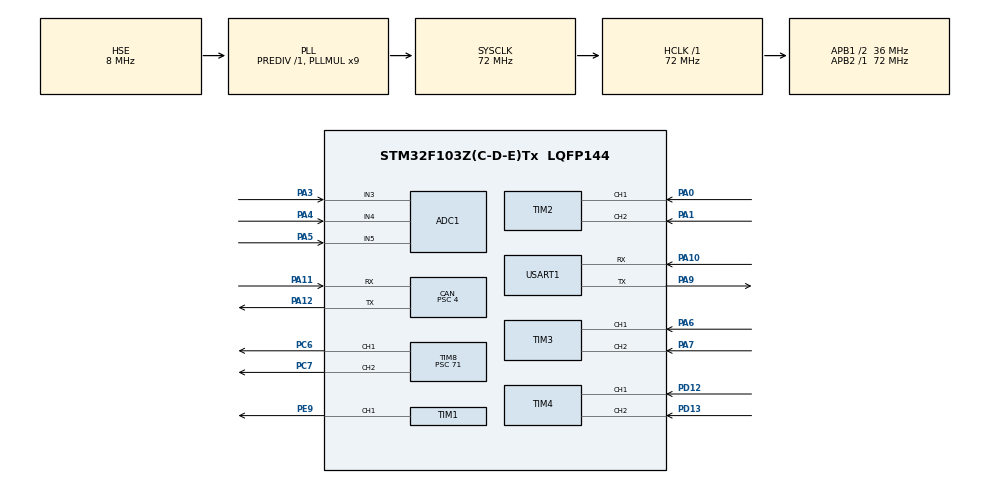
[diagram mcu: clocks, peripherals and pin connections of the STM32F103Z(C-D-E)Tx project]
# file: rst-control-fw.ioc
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ADC1.Channel-1\#ChannelRegularConversion=ADC_CHANNEL_4
ADC1.Channel-2\#ChannelRegularConversion=ADC_CHANNEL_3
ADC1.Channel-3\#ChannelRegularConversion=ADC_CHANNEL_3
ADC1.NbrOfConversion=3
ADC1.NbrOfConversionFlag=1
ADC1.Rank-1\#ChannelRegularConversion=1
ADC1.Rank-2\#ChannelRegularConversion=2
ADC1.Rank-3\#ChannelRegularConversion=3
ADC1.SamplingTime-1\#ChannelRegularConversion=ADC_SAMPLETIME_1CYCLE_5
ADC1.SamplingTime-2\#ChannelRegularConversion=ADC_SAMPLETIME_1CYCLE_5
ADC1.SamplingTime-3\#ChannelRegularConversion=ADC_SAMPLETIME_1CYCLE_5
ADC1.master=1
CAN.BS1=CAN_BS1_13TQ
CAN.BS2=CAN_BS2_2TQ
CAN.CalculateBaudRate=562500
CAN.CalculateTimeBit=1777
CAN.CalculateTimeQuantum=111.11111111111111
CAN.Prescaler=4
Dma.ADC1.0.Direction=DMA_PERIPH_TO_MEMORY
Dma.ADC1.0.Instance=DMA1_Channel1
Dma.ADC1.0.MemDataAlignment=DMA_MDATAALIGN_HALFWORD
Dma.ADC1.0.MemInc=DMA_MINC_ENABLE
Dma.ADC1.0.Mode=DMA_CIRCULAR
Dma.ADC1.0.PeriphDataAlignment=DMA_PDATAALIGN_HALFWORD
Dma.ADC1.0.PeriphInc=DMA_PINC_DISABLE
Dma.ADC1.0.Priority=DMA_PRIORITY_LOW
Dma.Request0=ADC1
Mcu.Family=STM32F1
Mcu.Name=STM32F103Z(C-D-E)Tx
Mcu.Package=LQFP144
NVIC.DMA1_Channel1_IRQn=true\:0\:0\:false\:false\:true\:false\:true\:true
NVIC.PriorityGroup=NVIC_PRIORITYGROUP_4
NVIC.USART1_IRQn=true\:0\:0\:false\:false\:true\:true\:true\:true
NVIC.USB_LP_CAN1_RX0_IRQn=true\:0\:0\:false\:false\:true\:true\:true\:true
OSC_IN.Mode=HSE-External-Oscillator
OSC_IN.Signal=RCC_OSC_IN
OSC_OUT.Mode=HSE-External-Oscillator
OSC_OUT.Signal=RCC_OSC_OUT
PA0-WKUP.Signal=S_TIM2_CH1_ETR
PA1.Signal=S_TIM2_CH2
PA10.Mode=Asynchronous
PA10.Signal=USART1_RX
PA11.Mode=CAN_Activate
PA11.Signal=CAN_RX
PA12.Mode=CAN_Activate
PA12.Signal=CAN_TX
PA13.Mode=Serial_Wire
PA13.Signal=SYS_JTMS-SWDIO
PA14.Mode=Serial_Wire
PA14.Signal=SYS_JTCK-SWCLK
PA3.Signal=ADCx_IN3
PA4.Signal=ADCx_IN4
PA5.Signal=ADCx_IN5
PA6.Signal=S_TIM3_CH1
PA7.Signal=S_TIM3_CH2
PA9.Mode=Asynchronous
PA9.Signal=USART1_TX
PC14-OSC32_IN.Mode=LSE-External-Oscillator
PC14-OSC32_IN.Signal=RCC_OSC32_IN
PC15-OSC32_OUT.Mode=LSE-External-Oscillator
PC15-OSC32_OUT.Signal=RCC_OSC32_OUT
PC6.Signal=S_TIM8_CH1
PC7.Signal=S_TIM8_CH2
PD12.Signal=S_TIM4_CH1
PD13.Signal=S_TIM4_CH2
PE9.Signal=S_TIM1_CH1
ProjectManager.HeapSize=0x200
ProjectManager.StackSize=0x400
ProjectManager.TargetToolchain=MDK-ARM V5.32
RCC.ADCPresc=RCC_ADCPCLK2_DIV6
RCC.AHBFreq_Value=72000000
RCC.APB1CLKDivider=RCC_HCLK_DIV2
RCC.APB1Freq_Value=36000000
RCC.APB1TimFreq_Value=72000000
RCC.APB2Freq_Value=72000000
RCC.APB2TimFreq_Value=72000000
RCC.HCLKFreq_Value=72000000
RCC.PLLMUL=RCC_PLL_MUL9
RCC.PLLSourceVirtual=RCC_PLLSOURCE_HSE
RCC.SYSCLKFreq_VALUE=72000000
RCC.SYSCLKSource=RCC_SYSCLKSOURCE_PLLCLK
RCC.USBFreq_Value=72000000
SH.ADCx_IN3.0=ADC1_IN3,IN3
SH.ADCx_IN4.0=ADC1_IN4,IN4
SH.ADCx_IN5.0=ADC1_IN5,IN5
SH.S_TIM1_CH1.0=TIM1_CH1,PWM Generation1 CH1
SH.S_TIM2_CH1_ETR.0=TIM2_CH1,Encoder_Interface
SH.S_TIM2_CH2.0=TIM2_CH2,Encoder_Interface
SH.S_TIM3_CH1.0=TIM3_CH1,Encoder_Interface
SH.S_TIM3_CH2.0=TIM3_CH2,Encoder_Interface
SH.S_TIM4_CH1.0=TIM4_CH1,Encoder_Interface
SH.S_TIM4_CH2.0=TIM4_CH2,Encoder_Interface
SH.S_TIM8_CH1.0=TIM8_CH1,PWM Generation1 CH1
SH.S_TIM8_CH2.0=TIM8_CH2,PWM Generation2 CH2
TIM1.Channel-PWM\ Generation1\ CH1=TIM_CHANNEL_1
TIM1.Period=999
TIM1.Prescaler=71
TIM2.EncoderMode=TIM_ENCODERMODE_TI12
TIM2.IC1Filter=8
TIM2.IC2Filter=8
TIM3.EncoderMode=TIM_ENCODERMODE_TI12
TIM3.IC1Filter=8
TIM3.IC2Filter=8
TIM4.EncoderMode=TIM_ENCODERMODE_TI12
TIM4.IC1Filter=8
TIM4.IC2Filter=8
TIM8.Channel-PWM\ Generation1\ CH1=TIM_CHANNEL_1
TIM8.Channel-PWM\ Generation2\ CH2=TIM_CHANNEL_2
TIM8.Period=999
TIM8.Prescaler=71
USART1.VirtualMode=VM_ASYNC
VP_TIM1_VS_ClockSourceINT.Mode=Internal
VP_TIM8_VS_ClockSourceINT.Mode=Internal
board=custom

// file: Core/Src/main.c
/* USER CODE BEGIN Header */
/**
  ******************************************************************************
  * @file           : main.c
  * @brief          : Main program body
  ******************************************************************************
  * @attention
  *
  * Copyright (c) 2026 STMicroelectronics.
  * All rights reserved.
  *
  * This software is licensed under terms that can be found in the LICENSE file
  * in the root directory of this software component.
  * If no LICENSE file comes with this software, it is provided AS-IS.
  *
  ******************************************************************************
  */
/* USER CODE END Header */
#include "main.h"
#include "adc.h"
#include "can.h"
#include "dma.h"
#include "tim.h"
#include "usart.h"
#include "gpio.h"

/* USER CODE BEGIN Includes */
#include "rst_config.h"
#include "debug_console.h"
#include <string.h>
#include <stdio.h>
/* USER CODE END Includes */

/* USER CODE BEGIN PV */
RST_System_t g_rst;
static uint8_t btn1_last = 1, btn2_last = 1;
/* USER CODE END PV */

void SystemClock_Config(void);
/* USER CODE BEGIN PFP */
static void MotorDefaults_Init(void);
static void LED_StartupBlink(void);
static uint8_t DIP_Read(void);
void RST_Loop1kHz(void);
void RST_ControlLoop20kHz(void);
/* USER CODE END PFP */

int main(void)
{

  /* MCU Configuration--------------------------------------------------------*/

  /* Reset of all peripherals, Initializes the Flash interface and the Systick. */
  HAL_Init();

  /* Configure the system clock */
  SystemClock_Config();

  /* Initialize all configured peripherals */
  MX_GPIO_Init();
  MX_DMA_Init();
  MX_ADC1_Init();
  MX_CAN_Init();
  MX_TIM1_Init();
  MX_TIM2_Init();
  MX_TIM3_Init();
  MX_TIM4_Init();
  MX_TIM8_Init();
  MX_USART1_UART_Init();
  /* USER CODE BEGIN 2 */
  MotorDefaults_Init();

  /* Read DIP switch */
  uint8_t dip = DIP_Read();
  g_rst.can_node_id = (dip == 0) ? CAN_NODE_ID_DEFAULT : dip;

  /* Start PWM (must be after timer init) */
  HAL_TIM_PWM_Start(&PWM_PITCH_TIM, PWM_PITCH_CHANNEL);
  HAL_TIM_PWM_Start(&PWM_JAWU_TIM,  PWM_JAWU_CHANNEL);
  HAL_TIM_PWM_Start(&PWM_JAWL_TIM,  PWM_JAWL_CHANNEL);

  /* Start encoder timers */
  HAL_TIM_Encoder_Start(&htim2, TIM_CHANNEL_ALL);
  HAL_TIM_Encoder_Start(&htim3, TIM_CHANNEL_ALL);
  HAL_TIM_Encoder_Start(&htim4, TIM_CHANNEL_ALL);

  /* Start CAN */
  HAL_CAN_Start(&hcan);

  /* LED self-test */
  LED_StartupBlink();

  /* Init debug console */
  Console_Init();
  /* USER CODE END 2 */

  /* Infinite loop */
  /* USER CODE BEGIN WHILE */
  uint32_t last_1khz_tick = 0;
  uint32_t last_led_toggle = 0;

  while (1)
  {
    uint32_t now = HAL_GetTick();

    /* ---- 1kHz slow tasks ---- */
    if (now - last_1khz_tick >= 1) {
      last_1khz_tick = now;
      g_rst.system_tick_ms++;

      if (now - last_led_toggle >= 500) {
        last_led_toggle = now;
        LED_TOGGLE(LED_SYS_PIN);
      }

      /* Button scan (falling edge) */
      uint8_t b1 = (HAL_GPIO_ReadPin(BTN1_PORT, BTN1_PIN) == GPIO_PIN_RESET) ? 0 : 1;
      uint8_t b2 = (HAL_GPIO_ReadPin(BTN2_PORT, BTN2_PIN) == GPIO_PIN_RESET) ? 0 : 1;

      if (b1 == 0 && btn1_last == 1) Console_Println("[BTN1]");
      if (b2 == 0 && btn2_last == 1) Console_Println("[BTN2]");
      btn1_last = b1; btn2_last = b2;

      RST_Loop1kHz();
    }

    g_rst.loop_count++;
    /* USER CODE END WHILE */

  }
}

void SystemClock_Config(void)
{
  RCC_OscInitTypeDef RCC_OscInitStruct = {0};
  RCC_ClkInitTypeDef RCC_ClkInitStruct = {0};
  RCC_PeriphCLKInitTypeDef PeriphClkInit = {0};

  /** Initializes the RCC Oscillators according to the specified parameters
  * in the RCC_OscInitTypeDef structure.
  */
  RCC_OscInitStruct.OscillatorType = RCC_OSCILLATORTYPE_HSE;
  RCC_OscInitStruct.HSEState = RCC_HSE_ON;
  RCC_OscInitStruct.HSEPredivValue = RCC_HSE_PREDIV_DIV1;
  RCC_OscInitStruct.HSIState = RCC_HSI_ON;
  RCC_OscInitStruct.PLL.PLLState = RCC_PLL_ON;
  RCC_OscInitStruct.PLL.PLLSource = RCC_PLLSOURCE_HSE;
  RCC_OscInitStruct.PLL.PLLMUL = RCC_PLL_MUL9;
  if (HAL_RCC_OscConfig(&RCC_OscInitStruct) != HAL_OK)
  {
    Error_Handler();
  }

  /** Initializes the CPU, AHB and APB buses clocks
  */
  RCC_ClkInitStruct.ClockType = RCC_CLOCKTYPE_HCLK|RCC_CLOCKTYPE_SYSCLK
                              |RCC_CLOCKTYPE_PCLK1|RCC_CLOCKTYPE_PCLK2;
  RCC_ClkInitStruct.SYSCLKSource = RCC_SYSCLKSOURCE_PLLCLK;
  RCC_ClkInitStruct.AHBCLKDivider = RCC_SYSCLK_DIV1;
  RCC_ClkInitStruct.APB1CLKDivider = RCC_HCLK_DIV2;
  RCC_ClkInitStruct.APB2CLKDivider = RCC_HCLK_DIV1;

  if (HAL_RCC_ClockConfig(&RCC_ClkInitStruct, FLASH_LATENCY_2) != HAL_OK)
  {
    Error_Handler();
  }
  PeriphClkInit.PeriphClockSelection = RCC_PERIPHCLK_ADC;
  PeriphClkInit.AdcClockSelection = RCC_ADCPCLK2_DIV6;
  if (HAL_RCCEx_PeriphCLKConfig(&PeriphClkInit) != HAL_OK)
  {
    Error_Handler();
  }
}

/* USER CODE BEGIN 4 */

static void MotorDefaults_Init(void)
{
    for (int i = 0; i < MOTOR_COUNT; i++) {
        Motor_t *m = &g_rst.motor[i];
        m->mode = MODE_STOP;
        m->state = STATE_NO_CALIB;
        m->enabled = false;
        m->stalled = false;
        m->calibrated = false;
        m->goal_angle = 0.0f;
        m->goal_current_ma = 0.0f;
        m->current_angle = 0.0f;
        m->current_velocity = 0.0f;
        m->pwm_output = 0;
        m->homing = true;

        m->pid.kp = 3.0f;
        m->pid.ki = 0.05f;
        m->pid.kd = 0.5f;
        m->pid.integral_limit = 300.0f;
        m->pid.output_limit = 1000.0f;
        m->pid_integral = 0.0f;
        m->pid_last_error = 0.0f;
    }
}

static void LED_StartupBlink(void)
{
    LED_ON(LED_P_PIN); LED_ON(LED_U_PIN);
    LED_ON(LED_L_PIN); LED_ON(LED_SYS_PIN);
    HAL_Delay(300);
    LED_OFF(LED_P_PIN); LED_OFF(LED_U_PIN);
    LED_OFF(LED_L_PIN); LED_OFF(LED_SYS_PIN);
}

/**
 * @brief  Read 4-bit DIP switch
 * @return 0~15 (closed=1, open=0)
 */
static uint8_t DIP_Read(void)
{
    uint8_t val = 0;
    if (HAL_GPIO_ReadPin(DIP_PORT, DIP_PIN_0) == GPIO_PIN_RESET) val |= 1;
    if (HAL_GPIO_ReadPin(DIP_PORT, DIP_PIN_1) == GPIO_PIN_RESET) val |= 2;
    if (HAL_GPIO_ReadPin(DIP_PORT, DIP_PIN_2) == GPIO_PIN_RESET) val |= 4;
    if (HAL_GPIO_ReadPin(DIP_PORT, DIP_PIN_3) == GPIO_PIN_RESET) val |= 8;
    return val;
}

void RST_Loop1kHz(void)
{
    /* Placeholder: EEPROM / CAN heartbeat / status report */
}

void RST_ControlLoop20kHz(void)
{
    for (int i = 0; i < MOTOR_COUNT; i++) {
        Motor_t *m = &g_rst.motor[i];
        (void)m;
        /*
         * TODO: Full control chain:
         * 1. Read TIMx->CNT, angle = CNT*360/ENC_COUNTS_PER_REV
         * 2. Velocity = (angle - last_angle) * CONTROL_LOOP_FREQ_HZ
         * 3. ADC DMA buffer -> current mA
         * 4. Homing state machine
         * 5. PID: err = goal - angle; out = kp*err + ki*integral_err + kd*d(err)/dt
         * 6. Motor_SetPWM(i, out)
         * 7. Stall detection
         */
    }
}
/* USER CODE END 4 */

void Error_Handler(void)
{
  __disable_irq();
  while (1)
  {
  }
}
